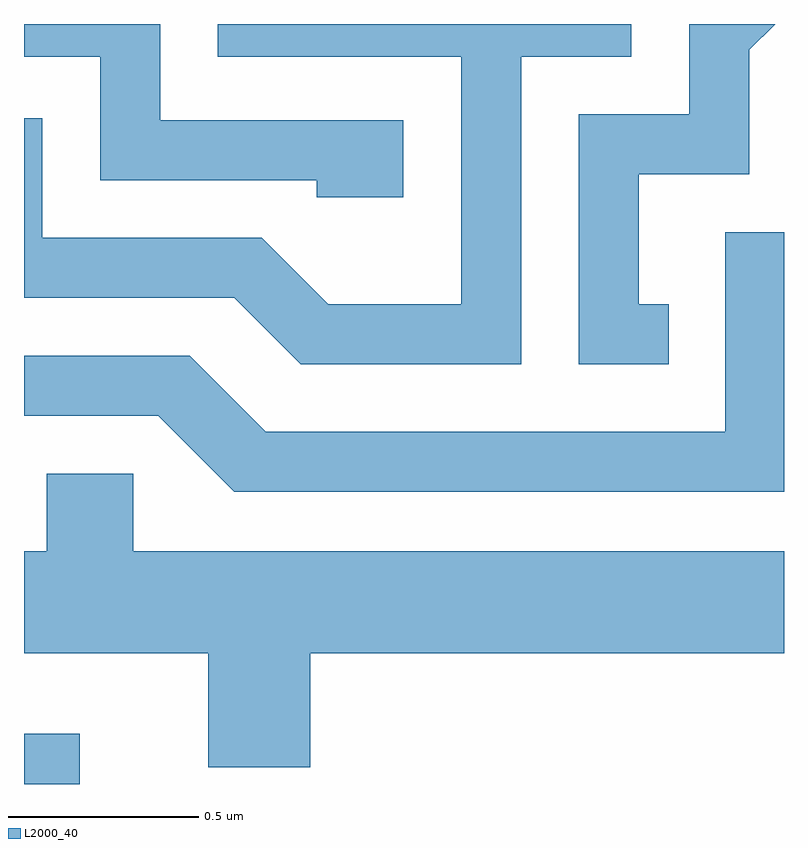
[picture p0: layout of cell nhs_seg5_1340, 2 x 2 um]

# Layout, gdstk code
import gdstk
lib = gdstk.Library(unit=1e-6, precision=1e-09)
def R(c, l, rs):  # rectangles x0, y0, x1, y1
    for r in rs: c.add(gdstk.rectangle(r[:2], r[2:], *l))
def P(c, l, *ps):  # polygons
    for p in ps: c.add(gdstk.Polygon(p, *l))
L2000_40 = (2000, 40)

nhs_seg5_1340 = lib.new_cell('nhs_seg5_1340')
R(nhs_seg5_1340, L2000_40, [(194.611,1503.072,194.758,1503.204)])
P(nhs_seg5_1340, L2000_40, [(195.919,1504.986),(196.209,1504.986),(196.209,1505.072),(195.121,1505.072),(195.121,1504.986),(195.761,1504.986),(195.761,1504.334),(195.412,1504.334),(195.237,1504.509),(194.659,1504.509),(194.659,1504.824),(194.611,1504.824),(194.611,1504.351),(195.164,1504.351),(195.339,1504.176),(195.919,1504.176)],
  [(196.308,1504.334),(196.229,1504.334),(196.229,1504.676),(196.519,1504.676),(196.519,1505.004),(196.588,1505.072),(196.361,1505.072),(196.361,1504.834),(196.071,1504.834),(196.071,1504.176),(196.308,1504.176)],
  [(195.609,1504.819),(194.969,1504.819),(194.969,1505.072),(194.611,1505.072),(194.611,1504.986),(194.811,1504.986),(194.811,1504.661),(195.381,1504.661),(195.381,1504.616),(195.609,1504.616)],
  [(196.611,1504.524),(196.456,1504.524),(196.456,1503.999),(195.247,1503.999),(195.047,1504.199),(194.611,1504.199),(194.611,1504.041),(194.964,1504.041),(195.164,1503.841),(196.611,1503.841)],
  [(195.364,1503.416),(196.611,1503.416),(196.611,1503.684),(194.899,1503.684),(194.899,1503.889),(194.671,1503.889),(194.671,1503.684),(194.611,1503.684),(194.611,1503.416),(195.096,1503.416),(195.096,1503.116),(195.364,1503.116)])

lib.write_gds('nhs_seg5_1340.gds')
